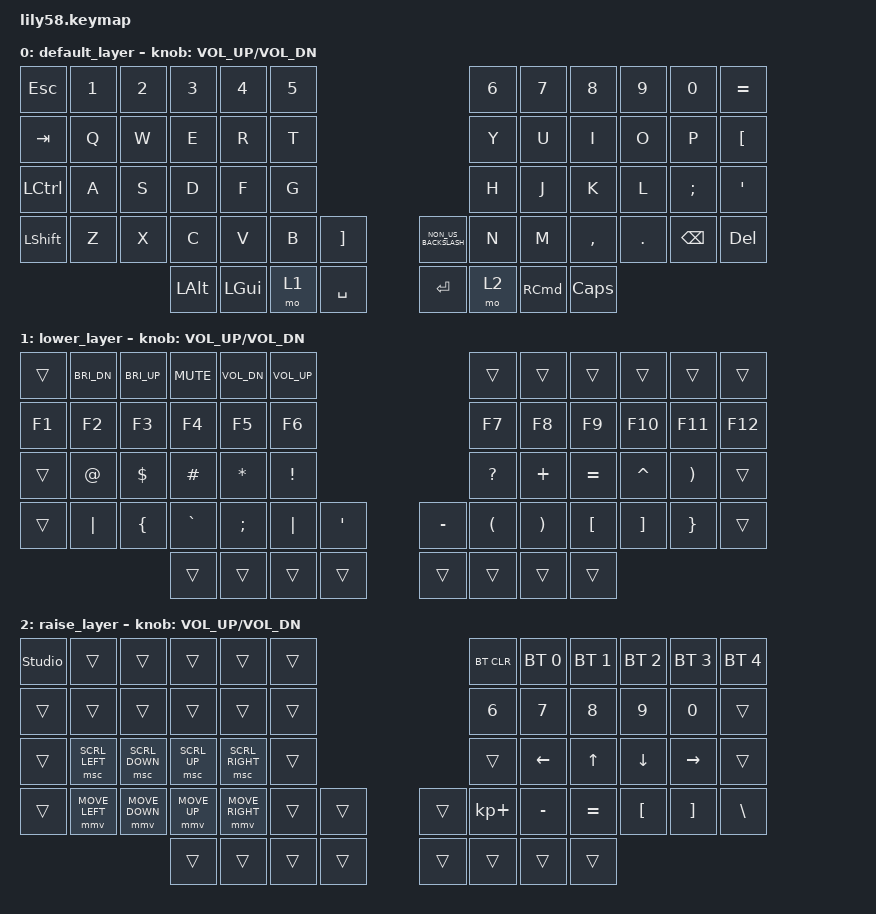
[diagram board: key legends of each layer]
/*
 * Copyright (c) 2020 The ZMK Contributors
 *
 * SPDX-License-Identifier: MIT
 */

#include <behaviors.dtsi>
#include <dt-bindings/zmk/bt.h>
#include <dt-bindings/zmk/keys.h>
#include <dt-bindings/zmk/pointing.h>

/ {
    keymap {
        compatible = "zmk,keymap";

        default_layer {
            // ------------------------------------------------------------------------------------------------------------
            // |  ESC  |  1  |  2  |  3   |  4   |  5   |                   |  6   |  7    |  8    |  9   |   0   |   `   |
            // |  TAB  |  Q  |  W  |  E   |  R   |  T   |                   |  Y   |  U    |  I    |  O   |   P   |   -   |
            // |  CTRL |  A  |  S  |  D   |  F   |  G   |                   |  H   |  J    |  K    |  L   |   ;   |   '   |
            // | SHIFT |  Z  |  X  |  C   |  V   |  B   |   "["  |  |  "]"  |  N   |  M    |  ,    |  .   |   /   | SHIFT |
            //                     | ALT  | GUI  | LOWER|  SPACE |  | ENTER | RAISE| BSPC  | GUI   |

            bindings = <
&kp ESC    &kp N1  &kp N2  &kp N3    &kp N4    &kp N5                                             &kp N6  &kp N7             &kp N8        &kp N9      &kp N0         &kp EQUAL
&kp TAB    &kp Q   &kp W   &kp E     &kp R     &kp T                                              &kp Y   &kp U              &kp I         &kp O       &kp P          &kp LEFT_BRACKET
&kp LCTRL  &kp A   &kp S   &kp D     &kp F     &kp G                                              &kp H   &kp J              &kp K         &kp L       &kp SEMI       &kp SQT
&kp LSHFT  &kp Z   &kp X   &kp C     &kp V     &kp B   &kp RIGHT_BRACKET    &kp NON_US_BACKSLASH  &kp N   &kp M              &kp COMMA     &kp PERIOD  &kp BACKSPACE  &kp DELETE
                           &kp LALT  &kp LGUI  &mo 1   &kp SPACE            &kp RET               &mo 2   &kp RIGHT_COMMAND  &kp CAPSLOCK
            >;

            sensor-bindings = <&inc_dec_kp C_VOL_UP C_VOL_DN>;
        };

        lower_layer {
            // --------------------------------------------------------------------------------------------------------------
            // | LPAD  | BRDn | BRUp |  MUT |  Vo- |  Vo+ |                   |      |       |       |      |       |       |
            // |  F1   |  F2  |  F3  |  F4  |  F5  |  F6  |                   |  F7  |  F8   |  F9   |  F10 |  F11  |  F12  |
            // |   `   |  !   |  @   |  #   |  $   |  %   |                   |  ^   |  &    |  *    |  (   |   )   |   ~   |
            // |       |      |      |      |      |      |        |  |       |      |  _    |  +    |  {   |   }   |  "|"  |
            //                       |      |      |      |        |  |       |      |       |       |

            bindings = <
&trans  &kp C_BRI_DN  &kp C_BRI_UP    &kp C_MUTE  &kp C_VOL_DN   &kp C_VOL_UP                                    &trans                &trans                 &trans            &trans             &trans    &trans
&kp F1  &kp F2        &kp F3          &kp F4      &kp F5         &kp F6                                          &kp F7                &kp F8                 &kp F9            &kp F10            &kp F11   &kp F12
&trans  &kp AT        &kp DOLLAR      &kp HASH    &kp ASTERISK   &kp EXCLAMATION                                 &kp QUESTION          &kp PLUS               &kp EQUAL         &kp CARET          &kp RPAR  &trans
&trans  &kp PIPE      &kp LEFT_BRACE  &kp GRAVE   &kp SEMICOLON  &kp PIPE         &kp SINGLE_QUOTE    &kp MINUS  &kp LEFT_PARENTHESIS  &kp RIGHT_PARENTHESIS  &kp LEFT_BRACKET  &kp RIGHT_BRACKET  &kp RBRC  &trans
                                      &trans      &trans         &trans           &trans              &trans     &trans                &trans                 &trans
            >;

            sensor-bindings = <&inc_dec_kp C_VOL_UP C_VOL_DN>;
        };

        raise_layer {
            // ------------------------------------------------------------------------------------------------------------
            // |       |     |     |      |      |      |                   |      |       |       |      |       |       |
            // |   `   |  1  |  2  |  3   |  4   |  5   |                   |  6   |   7   |   8   |  9   |   0   |       |
            // |   F1  |  F2 |  F3 |  F4  |  F5  |  F6  |                   |      |   <-  |   v   |  ^   |  ->   |       |
            // |   F7  |  F8 |  F9 |  F10 |  F11 |  F12 |        |  |       |  +   |   -   |   =   |  [   |   ]   |   \   |
            //                     |      |      |      |        |  |       |      |       |       |

            bindings = <
&studio_unlock  &trans          &trans          &trans        &trans           &trans                    &bt BT_CLR   &bt BT_SEL 0  &bt BT_SEL 1  &bt BT_SEL 2    &bt BT_SEL 3  &bt BT_SEL 4
&trans          &trans          &trans          &trans        &trans           &trans                    &kp N6       &kp N7        &kp N8        &kp N9          &kp N0        &trans
&trans          &msc SCRL_LEFT  &msc SCRL_DOWN  &msc SCRL_UP  &msc SCRL_RIGHT  &trans                    &trans       &kp LEFT      &kp UP_ARROW  &kp DOWN_ARROW  &kp RIGHT     &trans
&trans          &mmv MOVE_LEFT  &mmv MOVE_DOWN  &mmv MOVE_UP  &mmv MOVE_RIGHT  &trans  &trans    &trans  &kp KP_PLUS  &kp MINUS     &kp EQUAL     &kp LBKT        &kp RBKT      &kp BSLH
                                                &trans        &trans           &trans  &trans    &trans  &trans       &trans        &trans
            >;

            sensor-bindings = <&inc_dec_kp C_VOL_UP C_VOL_DN>;
        };
    };
};
